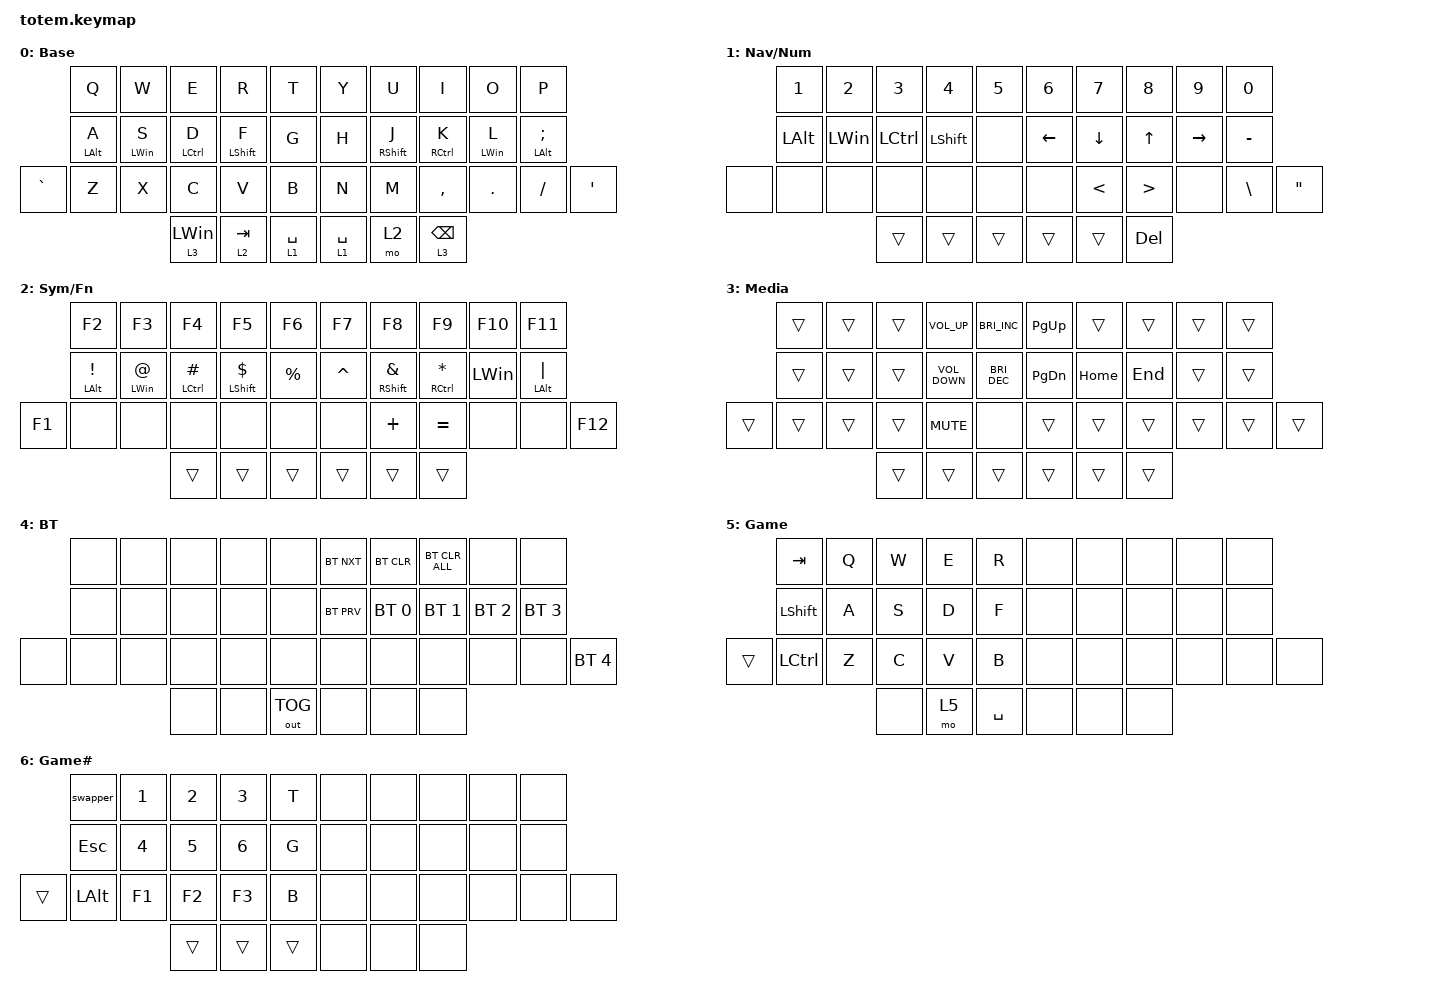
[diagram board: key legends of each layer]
//
//                                                        ▀▀▀▀▀     ▀▀▀▀▀          ▀▀█▀▀
//                                                        ▄▀▀▀▄  ▄  ▄▀▀▀▄  ▄  ▄▀▀▀▄  █  ▄▀▀▀▄
//                                                        █   █  █  █   █  █  █   █  █  █   █
//                                                         ▀▀▀   █   ▀▀▀   █   ▀▀▀   ▀   ▀▀▀
//                                                               █      ▄▄▄█▄▄▄    █   █  
//                                                               ▀      █  █  █     █▄█
//                                                             ▀▀▀▀▀    █  █  █      ▀
//                                                                      ▀  ▀  ▀
//
// ▄▄▄▄▄▄▄▄▄▄▄▄▄▄▄▄▄▄▄▄▄▄▄▄▄▄▄▄▄▄▄▄▄▄▄▄▄▄▄▄▄▄▄▄▄▄▄▄▄▄▄▄▄▄▄▄▄▄▄▄▄▄▄▄▄▄▄▄▄▄▄▄▄▄▄▄▄▄▄▄▄▄▄▄▄▄▄▄▄▄▄▄▄▄▄▄▄▄▄▄▄▄▄▄▄▄▄▄▄▄▄▄▄▄▄▄▄▄▄▄▄▄▄▄▄▄▄▄▄▄▄▄▄▄▄▄▄▄▄▄▄▄▄▄▄▄▄▄▄

#include <behaviors.dtsi>
#include <dt-bindings/zmk/bt.h>
#include <dt-bindings/zmk/keys.h>
#include <dt-bindings/zmk/outputs.h>

&lt { quick-tap-ms = <175>; };

/ {
    behaviors {
        HMRight: home_row_mode_right {
            compatible = "zmk,behavior-hold-tap";
            bindings = <&kp>, <&kp>;

            #binding-cells = <2>;
            tapping-term-ms = <200>;
            hold-trigger-key-positions = <0 1 2 3 4 10 11 12 13 14 20 21 22 23 24 25 32 33 34>;
            hold-trigger-on-release;
            flavor = "tap-preferred";
            quick-tap-ms = <175>;
        };

        HMLeft: home_row_mode_left {
            compatible = "zmk,behavior-hold-tap";
            bindings = <&kp>, <&kp>;

            #binding-cells = <2>;
            tapping-term-ms = <200>;
            hold-trigger-on-release;
            hold-trigger-key-positions = <5 6 7 8 9 15 16 17 18 19 26 27 28 29 30 31 35 36 37>;
            flavor = "tap-preferred";
            quick-tap-ms = <175>;
        };

        HMShiftL: home_row_shift_mode_left {
            compatible = "zmk,behavior-hold-tap";
            bindings = <&kp>, <&kp>;

            flavor = "balanced";
            #binding-cells = <2>;
            quick-tap-ms = <175>;
            hold-trigger-key-positions = <9 15 18 19 26 27 28 29 30 31 35 36 37 5 6 7 8 9 15 16 17 18 19 28>;
            hold-trigger-on-release;
            tapping-term-ms = <200>;
        };

        HMShiftR: home_row_shift_mode_right {
            compatible = "zmk,behavior-hold-tap";
            bindings = <&kp>, <&kp>;

            flavor = "balanced";
            #binding-cells = <2>;
            quick-tap-ms = <175>;
            hold-trigger-on-release;
            tapping-term-ms = <200>;
            hold-trigger-key-positions = <0 1 2 3 4 10 11 12 13 14 20 21 22 23 24 25 32 33 34>;
        };

        swapper: swapper {
            compatible = "zmk,behavior-tri-state";
            #binding-cells = <0>;
            bindings = <&kt LALT>, <&kp TAB>, <&kt LALT>;

            ignored-key-positions = <13 15 16 17 18 33 34 35>;
            ignored-layers = <1>;
        };
    };

    combos {
        compatible = "zmk,combos";

        RightEnter {
            bindings = <&kp ENTER>;
            key-positions = <16 17 18>;
        };

        LeftlEnter {
            bindings = <&kp ENTER>;
            key-positions = <11 12 13>;
        };

        ESCCombo {
            bindings = <&kp ESC>;
            key-positions = <10 20>;
        };

        LParenthesis {
            bindings = <&kp LEFT_PARENTHESIS>;
            key-positions = <13 12>;
            timeout-ms = <20>;
        };

        RParenthesis {
            bindings = <&kp RIGHT_PARENTHESIS>;
            key-positions = <16 17>;
            timeout-ms = <20>;
        };

        LCBracket {
            bindings = <&kp LEFT_BRACE>;
            key-positions = <3 2>;
            timeout-ms = <20>;
        };

        RCBracket {
            bindings = <&kp RIGHT_BRACE>;
            key-positions = <6 7>;
            timeout-ms = <20>;
        };

        LSBracket {
            bindings = <&kp LEFT_BRACKET>;
            key-positions = <24 23>;
            timeout-ms = <20>;
        };

        RSBracket {
            bindings = <&kp RIGHT_BRACKET>;
            key-positions = <27 28>;
            require-prior-idle-ms = <0>;
            timeout-ms = <20>;
        };

        underscoreCombo {
            bindings = <&kp UNDER>;
            key-positions = <18 17>;
            layers = <1>;
        };

        AltTabM {
            bindings = <&swapper>;
            key-positions = <13 33>;
            timeout-ms = <35>;
        };

        profileLayer {
            bindings = <&sl 4>;
            key-positions = <21 30 22 29>;
        };

        gammingMode {
            bindings = <&tog 5>;
            key-positions = <20 31>;
        };

        printRight {
            bindings = <&kp PRINTSCREEN>;
            key-positions = <16 17 18 19>;
            layers = <2>;
        };

        printLeft {
            bindings = <&kp PRINTSCREEN>;
            key-positions = <10 11 12 13>;
            layers = <2>;
        };
    };

    macros {
        AltTab: AltTab {
            compatible = "zmk,behavior-macro";
            #binding-cells = <0>;
            bindings =
                <&macro_press>,
                <&kp LEFT_ALT>,
                <&macro_tap>,
                <&kp TAB>,
                <&macro_release>,
                <&kp LEFT_ALT>;

            label = "ALTTAB";
        };
    };

    keymap {
        compatible = "zmk,keymap";

        base {
            display-name = "Base";
            bindings = <
           &kp Q               &kp W           &kp E            &kp R                   &kp T          &kp Y        &kp U                    &kp I             &kp O                &kp P
           &HMLeft LEFT_ALT A  &HMLeft LWIN S  &HMLeft LCTRL D  &HMShiftL LEFT_SHIFT F  &kp G          &kp H        &HMShiftR RIGHT_SHIFT J  &HMRight RCTRL K  &HMRight LEFT_WIN L  &HMRight LEFT_ALT SEMICOLON
&kp GRAVE  &kp Z               &kp X           &kp C            &kp V                   &kp B          &kp N        &kp M                    &kp COMMA         &kp DOT              &kp FSLH                     &kp SINGLE_QUOTE
                                               &lt 3 LEFT_WIN   &lt 2 TAB               &lt 1 SPACE    &lt 1 SPACE  &mo 2                    &lt 3 BACKSPACE
            >;
        };

        nav_num {
            display-name = "Nav/Num";
            bindings = <
       &kp N1        &kp N2    &kp N3     &kp N4          &kp N5    &kp N6          &kp N7          &kp N8            &kp N9           &kp N0
       &kp LEFT_ALT  &kp LWIN  &kp LCTRL  &kp LEFT_SHIFT  &none     &kp LEFT_ARROW  &kp DOWN_ARROW  &kp UP_ARROW      &kp RIGHT_ARROW  &kp MINUS
&none  &none         &none     &none      &none           &none     &none           &kp LESS_THAN   &kp GREATER_THAN  &none            &kp BACKSLASH  &kp DOUBLE_QUOTES
                               &trans     &trans          &trans    &trans          &trans          &kp DEL
            >;
        };

        sym_func {
            display-name = "Sym/Fn";
            bindings = <
        &kp F2                 &kp F3           &kp F4              &kp F5                       &kp F6         &kp F7     &kp F8                           &kp F9                   &kp F10       &kp F11
        &HMLeft LEFT_ALT EXCL  &HMLeft LWIN AT  &HMLeft LCTRL HASH  &HMShiftL LEFT_SHIFT DOLLAR  &kp PERCENT    &kp CARET  &HMShiftR RIGHT_SHIFT AMPERSAND  &HMRight RCTRL ASTERISK  &kp LEFT_WIN  &HMRight LEFT_ALT PIPE
&kp F1  &none                  &none            &none               &none                        &none          &none      &kp PLUS                         &kp EQUAL                &none         &none                   &kp F12
                                                &trans              &trans                       &trans         &trans     &trans                           &trans
            >;
        };

        navigation {
            display-name = "Media";
            bindings = <
        &trans  &trans  &trans  &kp C_VOLUME_UP    &kp C_BRIGHTNESS_INC    &kp PAGE_UP    &trans    &trans   &trans  &trans
        &trans  &trans  &trans  &kp C_VOLUME_DOWN  &kp C_BRIGHTNESS_DEC    &kp PAGE_DOWN  &kp HOME  &kp END  &trans  &trans
&trans  &trans  &trans  &trans  &kp C_MUTE         &none                   &trans         &trans    &trans   &trans  &trans  &trans
                        &trans  &trans             &trans                  &trans         &trans    &trans
            >;
        };

        profile_management {
            display-name = "BT";
            bindings = <
       &none  &none  &none  &none  &none           &bt BT_NXT  &bt BT_CLR    &bt BT_CLR_ALL  &none         &none
       &none  &none  &none  &none  &none           &bt BT_PRV  &bt BT_SEL 0  &bt BT_SEL 1    &bt BT_SEL 2  &bt BT_SEL 3
&none  &none  &none  &none  &none  &none           &none       &none         &none           &none         &none         &bt BT_SEL 4
                     &none  &none  &out OUT_TOG    &none       &none         &none
            >;
        };

        gamming {
            display-name = "Game";
            bindings = <
        &kp TAB         &kp Q  &kp W  &kp E  &kp R        &none  &none  &none  &none  &none
        &kp LEFT_SHIFT  &kp A  &kp S  &kp D  &kp F        &none  &none  &none  &none  &none
&trans  &kp LCTRL       &kp Z  &kp C  &kp V  &kp B        &none  &none  &none  &none  &none  &none
                               &none  &mo 5  &kp SPACE    &none  &none  &none
            >;
        };

        gamming_num {
            display-name = "Game#";
            bindings = <
        &swapper      &kp N1  &kp N2  &kp N3        &kp T     &none  &none  &none  &none  &none
        &kp ESC       &kp N4  &kp N5  &kp NUMBER_6  &kp G     &none  &none  &none  &none  &none
&trans  &kp LEFT_ALT  &kp F1  &kp F2  &kp F3        &kp B     &none  &none  &none  &none  &none  &none
                              &trans  &trans        &trans    &none  &none  &none
            >;
        };
    };

    conditional_layers { compatible = "zmk,conditional-layers"; };
};
